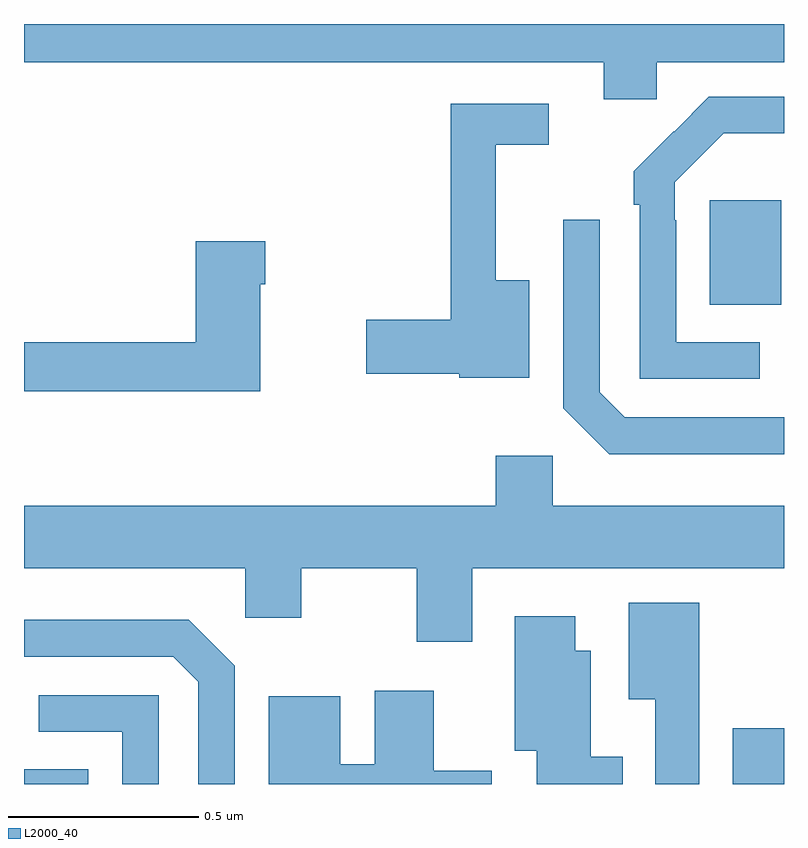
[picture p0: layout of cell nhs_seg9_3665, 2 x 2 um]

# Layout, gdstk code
import gdstk
lib = gdstk.Library(unit=1e-6, precision=1e-09)
def R(c, l, rs):  # rectangles x0, y0, x1, y1
    for r in rs: c.add(gdstk.rectangle(r[:2], r[2:], *l))
def P(c, l, *ps):  # polygons
    for p in ps: c.add(gdstk.Polygon(p, *l))
L2000_40 = (2000, 40)

nhs_seg9_3665 = lib.new_cell('nhs_seg9_3665')
R(nhs_seg9_3665, L2000_40, [(156,1214.5,156.169,1214.539), (157.865,1214.5,158,1214.647), (157.805,1215.761,157.993,1216.036)])
P(nhs_seg9_3665, L2000_40, [(157.665,1216.4),(158,1216.4),(158,1216.5),(156,1216.5),(156,1216.4),(157.526,1216.4),(157.526,1216.302),(157.665,1216.302)],
  [(157.936,1215.663),(157.716,1215.663),(157.716,1215.983),(157.713,1215.983),(157.713,1216.083),(157.842,1216.212),(158,1216.212),(158,1216.308),(157.802,1216.308),(157.711,1216.217),(157.71,1216.218),(157.605,1216.113),(157.605,1216.025),(157.62,1216.025),(157.62,1215.567),(157.936,1215.567)],
  [(157.33,1215.826),(157.241,1215.826),(157.241,1216.182),(157.381,1216.182),(157.381,1216.29),(157.123,1216.29),(157.123,1215.722),(156.9,1215.722),(156.9,1215.58),(157.146,1215.58),(157.146,1215.569),(157.33,1215.569)],
  [(158,1215.465),(157.581,1215.465),(157.515,1215.531),(157.515,1215.985),(157.419,1215.985),(157.419,1215.489),(157.54,1215.368),(158,1215.368)],
  [(156.622,1215.815),(156.635,1215.815),(156.635,1215.928),(156.452,1215.928),(156.452,1215.662),(156,1215.662),(156,1215.534),(156.622,1215.534)],
  [(157.18,1215.068),(158,1215.068),(158,1215.232),(157.392,1215.232),(157.392,1215.364),(157.241,1215.364),(157.241,1215.232),(156,1215.232),(156,1215.068),(156.582,1215.068),(156.582,1214.937),(156.729,1214.937),(156.729,1215.068),(157.033,1215.068),(157.033,1214.874),(157.18,1214.874)],
  [(157.777,1214.977),(157.592,1214.977),(157.592,1214.723),(157.661,1214.723),(157.661,1214.5),(157.777,1214.5)],
  [(157.576,1214.572),(157.492,1214.572),(157.492,1214.851),(157.45,1214.851),(157.45,1214.941),(157.292,1214.941),(157.292,1214.588),(157.349,1214.588),(157.349,1214.5),(157.576,1214.5)],
  [(156.555,1214.811),(156.434,1214.932),(156,1214.932),(156,1214.835),(156.393,1214.835),(156.459,1214.769),(156.459,1214.5),(156.555,1214.5)],
  [(157.231,1214.535),(157.078,1214.535),(157.078,1214.746),(156.923,1214.746),(156.923,1214.552),(156.832,1214.552),(156.832,1214.731),(156.644,1214.731),(156.644,1214.5),(157.231,1214.5)],
  [(156.354,1214.733),(156.039,1214.733),(156.039,1214.637),(156.258,1214.637),(156.258,1214.5),(156.354,1214.5)])

lib.write_gds('nhs_seg9_3665.gds')
